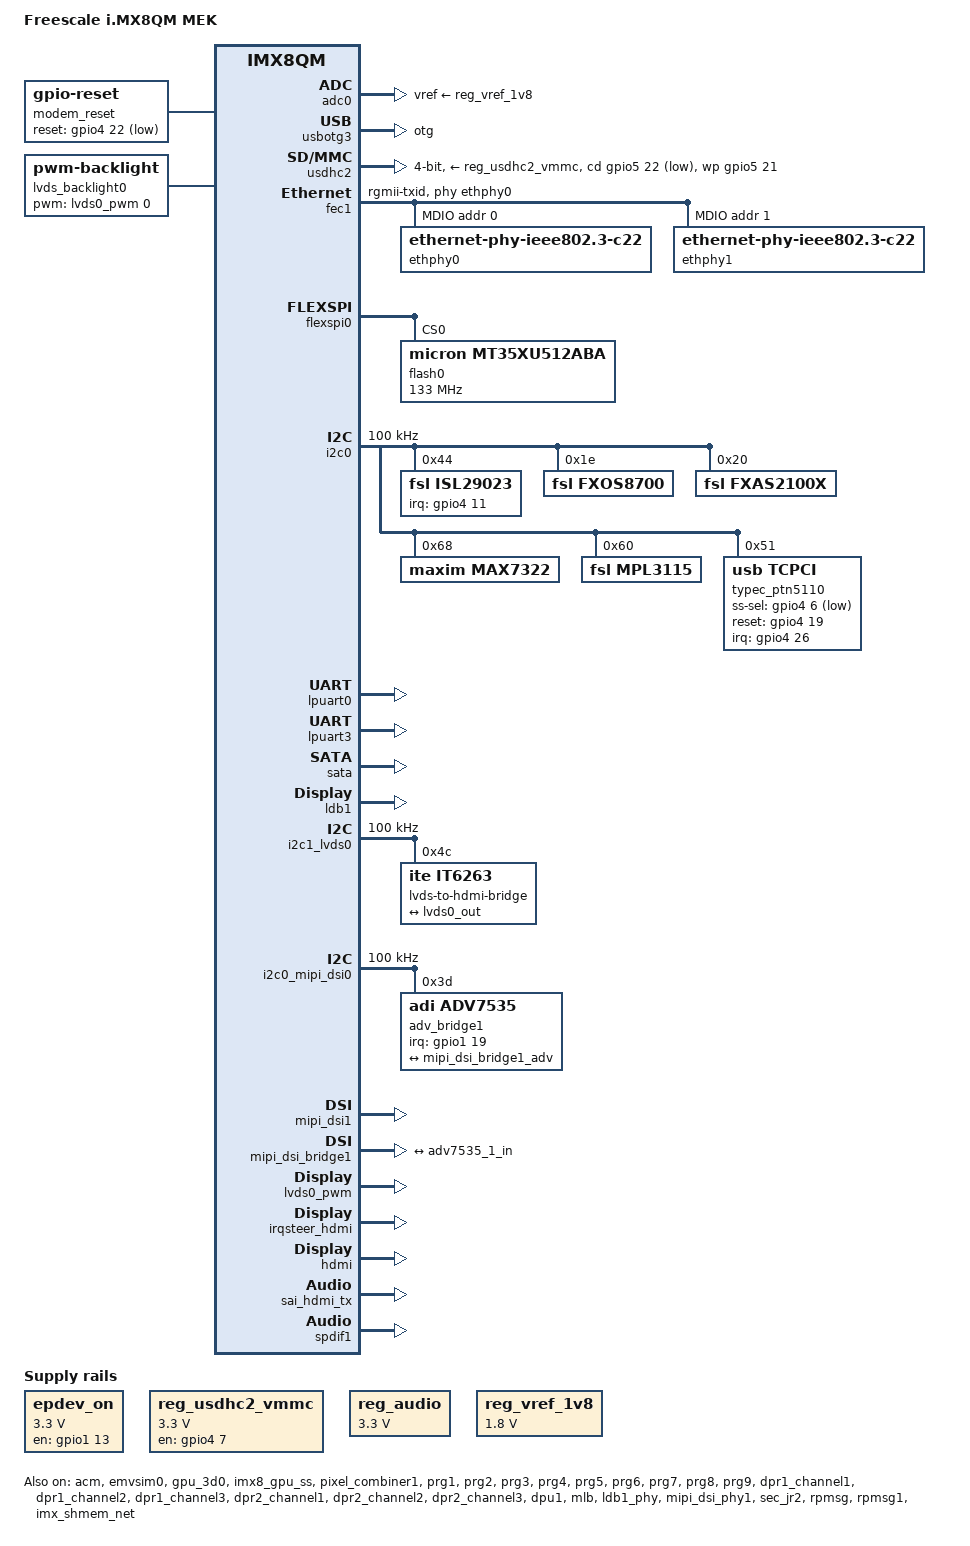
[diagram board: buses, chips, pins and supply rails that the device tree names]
/*
 * Copyright 2017-2018 NXP
 *
 * This program is free software; you can redistribute it and/or
 * modify it under the terms of the GNU General Public License
 * as published by the Free Software Foundation; either version 2
 * of the License, or (at your option) any later version.
 *
 * This program is distributed in the hope that it will be useful,
 * but WITHOUT ANY WARRANTY; without even the implied warranty of
 * MERCHANTABILITY or FITNESS FOR A PARTICULAR PURPOSE.  See the
 * GNU General Public License for more details.
 */

#include "fsl-imx8qm-a53.dtsi"

/ {
	model = "Freescale i.MX8QM MEK";
	compatible = "fsl,imx8qm-mek", "fsl,imx8qm";

	chosen {
		bootargs = "console=ttyLP0,115200 earlycon=lpuart32,0x5a060000,115200";
		stdout-path = &lpuart0;
	};

	brcmfmac: brcmfmac {
		compatible = "cypress,brcmfmac";
		pinctrl-names = "init", "idle", "default";
		pinctrl-0 = <&pinctrl_wifi_init>;
		pinctrl-1 = <&pinctrl_wifi_init>;
		pinctrl-2 = <&pinctrl_wifi>;
	};

	modem_reset: modem-reset {
		compatible = "gpio-reset";
		pinctrl-names = "default", "sleep";
		pinctrl-0 = <&pinctrl_modem_reset>;
		pinctrl-1 = <&pinctrl_modem_reset_sleep>;
		reset-gpios = <&gpio4 22 GPIO_ACTIVE_LOW>;
		reset-delay-us = <2000>;
		reset-post-delay-ms = <40>;
		#reset-cells = <0>;
	};

	regulators {
		compatible = "simple-bus";
		#address-cells = <1>;
		#size-cells = <0>;

		reg_can01_en: regulator-can01-gen {
			compatible = "regulator-fixed";
			regulator-name = "can01-en";
			regulator-min-microvolt = <3300000>;
			regulator-max-microvolt = <3300000>;
			gpio = <&pca6416 3 GPIO_ACTIVE_HIGH>;
			enable-active-high;
			status = "disabled";
		};

		reg_can2_en: regulator-can2-gen {
			compatible = "regulator-fixed";
			regulator-name = "can2-en";
			regulator-min-microvolt = <3300000>;
			regulator-max-microvolt = <3300000>;
			gpio = <&pca6416 4 GPIO_ACTIVE_HIGH>;
			enable-active-high;
			status = "disabled";
		};

		reg_can01_stby: regulator-can01-stby {
			compatible = "regulator-fixed";
			regulator-name = "can01-stby";
			regulator-min-microvolt = <3300000>;
			regulator-max-microvolt = <3300000>;
			gpio = <&pca6416 5 GPIO_ACTIVE_HIGH>;
			enable-active-high;
			vin-supply = <&reg_can01_en>;
			status = "disabled";
		};

		reg_can2_stby: regulator-can2-stby {
			compatible = "regulator-fixed";
			regulator-name = "can2-stby";
			regulator-min-microvolt = <3300000>;
			regulator-max-microvolt = <3300000>;
			gpio = <&pca6416 6 GPIO_ACTIVE_HIGH>;
			enable-active-high;
			vin-supply = <&reg_can2_en>;
			status = "disabled";
		};

		reg_fec2_supply: fec2_nvcc {
			compatible = "regulator-fixed";
			regulator-name = "fec2_nvcc";
			regulator-min-microvolt = <1800000>;
			regulator-max-microvolt = <1800000>;
			gpio = <&max7322 0 GPIO_ACTIVE_HIGH>;
			enable-active-high;
			status = "disabled";
		};

		epdev_on: fixedregulator@100 {
			compatible = "regulator-fixed";
			pinctrl-names = "default", "sleep";
			pinctrl-0 = <&pinctrl_wlreg_on>;
			pinctrl-1 = <&pinctrl_wlreg_on_sleep>;
			regulator-min-microvolt = <3300000>;
			regulator-max-microvolt = <3300000>;
			regulator-name = "epdev_on";
			gpio = <&gpio1 13 0>;
			enable-active-high;
		};

		reg_usdhc2_vmmc: usdhc2_vmmc {
			compatible = "regulator-fixed";
			regulator-name = "sw-3p3-sd1";
			regulator-min-microvolt = <3300000>;
			regulator-max-microvolt = <3300000>;
			gpio = <&gpio4 7 GPIO_ACTIVE_HIGH>;
			off-on-delay = <4800>;
			enable-active-high;
		};

		reg_audio: fixedregulator@2 {
			compatible = "regulator-fixed";
			reg = <2>;
			regulator-name = "cs42888_supply";
			regulator-min-microvolt = <3300000>;
			regulator-max-microvolt = <3300000>;
			regulator-always-on;
		};

		reg_vref_1v8: adc_vref_1v8 {
			compatible = "regulator-fixed";
			regulator-name = "vref_1v8";
			regulator-min-microvolt = <1800000>;
			regulator-max-microvolt = <1800000>;
		};
	};

	sound: sound {
		compatible = "fsl,imx7d-evk-wm8960",
			   "fsl,imx-audio-wm8960";
		model = "wm8960-audio";
		cpu-dai = <&sai1>;
		audio-codec = <&wm8960>;
		codec-master;
		/*
		 * hp-det = <hp-det-pin hp-det-polarity>;
		 * hp-det-pin: JD1 JD2  or JD3
		 * hp-det-polarity = 0: hp detect high for headphone
		 * hp-det-polarity = 1: hp detect high for speaker
		 */
		hp-det = <2 0>;
		hp-det-gpios = <&gpio0 31 0>;
		mic-det-gpios = <&gpio0 31 0>;
		audio-routing =
			"Headphone Jack", "HP_L",
			"Headphone Jack", "HP_R",
			"Ext Spk", "SPK_LP",
			"Ext Spk", "SPK_LN",
			"Ext Spk", "SPK_RP",
			"Ext Spk", "SPK_RN",
			"LINPUT2", "Mic Jack",
			"LINPUT3", "Mic Jack",
			"RINPUT1", "Main MIC",
			"RINPUT2", "Main MIC",
			"Mic Jack", "MICB",
			"Main MIC", "MICB",
			"CPU-Playback", "ASRC-Playback",
			"Playback", "CPU-Playback",
			"ASRC-Capture", "CPU-Capture",
			"CPU-Capture", "Capture";
		status = "disabled";
	};

	sound-cs42888 {
		compatible = "fsl,imx8qm-sabreauto-cs42888",
				 "fsl,imx-audio-cs42888";
		model = "imx-cs42888";
		esai-controller = <&esai0>;
		audio-codec = <&cs42888>;
		asrc-controller = <&asrc0>;
		status = "disabled";
	};

	sound-amix-sai {
		compatible = "fsl,imx-audio-amix";
		model = "amix-audio-sai";
		dais = <&sai6>, <&sai7>;
		amix-controller = <&amix>;
		status = "disabled";
	};

	lvds_backlight0: lvds_backlight@0 {
		compatible = "pwm-backlight";
		pwms = <&lvds0_pwm 0 100000 0>;

		brightness-levels = < 0  1  2  3  4  5  6  7  8  9
				     10 11 12 13 14 15 16 17 18 19
				     20 21 22 23 24 25 26 27 28 29
				     30 31 32 33 34 35 36 37 38 39
				     40 41 42 43 44 45 46 47 48 49
				     50 51 52 53 54 55 56 57 58 59
				     60 61 62 63 64 65 66 67 68 69
				     70 71 72 73 74 75 76 77 78 79
				     80 81 82 83 84 85 86 87 88 89
				     90 91 92 93 94 95 96 97 98 99
				    100>;
		default-brightness-level = <80>;
	};

	lvds_backlight1: lvds_backlight@1 {
		compatible = "pwm-backlight";
		pwms = <&lvds1_pwm 0 100000 0>;

		brightness-levels = < 0  1  2  3  4  5  6  7  8  9
				     10 11 12 13 14 15 16 17 18 19
				     20 21 22 23 24 25 26 27 28 29
				     30 31 32 33 34 35 36 37 38 39
				     40 41 42 43 44 45 46 47 48 49
				     50 51 52 53 54 55 56 57 58 59
				     60 61 62 63 64 65 66 67 68 69
				     70 71 72 73 74 75 76 77 78 79
				     80 81 82 83 84 85 86 87 88 89
				     90 91 92 93 94 95 96 97 98 99
				    100>;
		default-brightness-level = <80>;
		status = "disabled";
	};
};

&acm {
	status = "okay";
};

&amix {
	status = "disabled";
};

&sai6 {
	assigned-clocks = <&clk IMX8QM_ACM_SAI6_MCLK_SEL>,
			<&clk IMX8QM_AUD_PLL1_DIV>,
			<&clk IMX8QM_AUD_ACM_AUD_PLL_CLK1_DIV>,
			<&clk IMX8QM_AUD_ACM_AUD_REC_CLK1_DIV>,
			<&clk IMX8QM_AUD_SAI_6_MCLK>;
	assigned-clock-parents = <&clk IMX8QM_AUD_ACM_AUD_PLL_CLK1_CLK>;
	assigned-clock-rates = <0>, <786432000>, <98304000>, <12288000>, <98304000>;
	fsl,sai-asynchronous;
	fsl,txm-rxs;
	status = "disabled";
};

&sai7 {
	assigned-clocks = <&clk IMX8QM_ACM_SAI7_MCLK_SEL>,
			<&clk IMX8QM_AUD_PLL1_DIV>,
			<&clk IMX8QM_AUD_ACM_AUD_PLL_CLK1_DIV>,
			<&clk IMX8QM_AUD_ACM_AUD_REC_CLK1_DIV>,
			<&clk IMX8QM_AUD_SAI_7_MCLK>;
	assigned-clock-parents = <&clk IMX8QM_AUD_ACM_AUD_PLL_CLK1_CLK>;
	assigned-clock-rates = <0>, <786432000>, <98304000>, <12288000>, <98304000>;
	fsl,sai-asynchronous;
	fsl,txm-rxs;
	status = "disabled";
};

&iomuxc {
	pinctrl-names = "default";
	pinctrl-0 = <&pinctrl_hog>;

	imx8qm-mek {
		pinctrl_hog: hoggrp {
			fsl,pins = <
				SC_P_QSPI1A_DATA1_LSIO_GPIO4_IO25	0x0600004c
			>;
		};

		pinctrl_adc0: adc0grp {
			fsl,pins = <
				SC_P_ADC_IN0_DMA_ADC0_IN0		0xc0000060
			>;
		};

		pinctrl_cm41_i2c0: cm41i2c0grp {
			fsl,pins = <
				SC_P_M41_I2C0_SCL_M41_I2C0_SCL          0x0600004c
				SC_P_M41_I2C0_SDA_M41_I2C0_SDA          0x0600004c
			>;
		};

		pinctrl_esai0: esai0grp {
			fsl,pins = <
				SC_P_ESAI0_FSR_AUD_ESAI0_FSR            0xc6000040
				SC_P_ESAI0_FST_AUD_ESAI0_FST            0xc6000040
				SC_P_ESAI0_SCKR_AUD_ESAI0_SCKR          0xc6000040
				SC_P_ESAI0_SCKT_AUD_ESAI0_SCKT          0xc6000040
				SC_P_ESAI0_TX0_AUD_ESAI0_TX0            0xc6000040
				SC_P_ESAI0_TX1_AUD_ESAI0_TX1            0xc6000040
				SC_P_ESAI0_TX2_RX3_AUD_ESAI0_TX2_RX3    0xc6000040
				SC_P_ESAI0_TX3_RX2_AUD_ESAI0_TX3_RX2    0xc6000040
				SC_P_ESAI0_TX4_RX1_AUD_ESAI0_TX4_RX1    0xc6000040
				SC_P_ESAI0_TX5_RX0_AUD_ESAI0_TX5_RX0    0xc6000040
			>;
		};

		pinctrl_fec1: fec1grp {
			fsl,pins = <
				SC_P_COMP_CTL_GPIO_1V8_3V3_ENET_ENETB_PAD	0x000014a0
				SC_P_ENET0_MDC_CONN_ENET0_MDC			0x06000020
				SC_P_ENET0_MDIO_CONN_ENET0_MDIO			0x06000020
				SC_P_ENET0_RGMII_TX_CTL_CONN_ENET0_RGMII_TX_CTL	0x00000061
				SC_P_ENET0_RGMII_TXC_CONN_ENET0_RGMII_TXC	0x00000061
				SC_P_ENET0_RGMII_TXD0_CONN_ENET0_RGMII_TXD0	0x00000061
				SC_P_ENET0_RGMII_TXD1_CONN_ENET0_RGMII_TXD1	0x00000061
				SC_P_ENET0_RGMII_TXD2_CONN_ENET0_RGMII_TXD2	0x00000061
				SC_P_ENET0_RGMII_TXD3_CONN_ENET0_RGMII_TXD3	0x00000061
				SC_P_ENET0_RGMII_RXC_CONN_ENET0_RGMII_RXC	0x00000061
				SC_P_ENET0_RGMII_RX_CTL_CONN_ENET0_RGMII_RX_CTL	0x00000061
				SC_P_ENET0_RGMII_RXD0_CONN_ENET0_RGMII_RXD0	0x00000061
				SC_P_ENET0_RGMII_RXD1_CONN_ENET0_RGMII_RXD1	0x00000061
				SC_P_ENET0_RGMII_RXD2_CONN_ENET0_RGMII_RXD2	0x00000061
				SC_P_ENET0_RGMII_RXD3_CONN_ENET0_RGMII_RXD3	0x00000061
			>;
		};

		pinctrl_fec2: fec2grp {
			fsl,pins = <
				SC_P_COMP_CTL_GPIO_1V8_3V3_ENET_ENETA_PAD	0x000014a0
				SC_P_ENET1_RGMII_TX_CTL_CONN_ENET1_RGMII_TX_CTL	0x00000060
				SC_P_ENET1_RGMII_TXC_CONN_ENET1_RGMII_TXC	0x00000060
				SC_P_ENET1_RGMII_TXD0_CONN_ENET1_RGMII_TXD0	0x00000060
				SC_P_ENET1_RGMII_TXD1_CONN_ENET1_RGMII_TXD1	0x00000060
				SC_P_ENET1_RGMII_TXD2_CONN_ENET1_RGMII_TXD2	0x00000060
				SC_P_ENET1_RGMII_TXD3_CONN_ENET1_RGMII_TXD3	0x00000060
				SC_P_ENET1_RGMII_RXC_CONN_ENET1_RGMII_RXC	0x00000060
				SC_P_ENET1_RGMII_RX_CTL_CONN_ENET1_RGMII_RX_CTL	0x00000060
				SC_P_ENET1_RGMII_RXD0_CONN_ENET1_RGMII_RXD0	0x00000060
				SC_P_ENET1_RGMII_RXD1_CONN_ENET1_RGMII_RXD1	0x00000060
				SC_P_ENET1_RGMII_RXD2_CONN_ENET1_RGMII_RXD2	0x00000060
				SC_P_ENET1_RGMII_RXD3_CONN_ENET1_RGMII_RXD3	0x00000060
			>;
		};

		pinctrl_flexspi0: flexspi0grp {
			fsl,pins = <
				SC_P_QSPI0A_DATA0_LSIO_QSPI0A_DATA0	0x06000021
				SC_P_QSPI0A_DATA1_LSIO_QSPI0A_DATA1	0x06000021
				SC_P_QSPI0A_DATA2_LSIO_QSPI0A_DATA2	0x06000021
				SC_P_QSPI0A_DATA3_LSIO_QSPI0A_DATA3	0x06000021
				SC_P_QSPI0A_DQS_LSIO_QSPI0A_DQS		0x06000021
				SC_P_QSPI0A_SS0_B_LSIO_QSPI0A_SS0_B	0x06000021
				SC_P_QSPI0A_SS1_B_LSIO_QSPI0A_SS1_B	0x06000021
				SC_P_QSPI0A_SCLK_LSIO_QSPI0A_SCLK	0x06000021
				SC_P_QSPI0B_SCLK_LSIO_QSPI0B_SCLK	0x06000021
				SC_P_QSPI0B_DATA0_LSIO_QSPI0B_DATA0	0x06000021
				SC_P_QSPI0B_DATA1_LSIO_QSPI0B_DATA1	0x06000021
				SC_P_QSPI0B_DATA2_LSIO_QSPI0B_DATA2	0x06000021
				SC_P_QSPI0B_DATA3_LSIO_QSPI0B_DATA3	0x06000021
				SC_P_QSPI0B_DQS_LSIO_QSPI0B_DQS		0x06000021
				SC_P_QSPI0B_SS0_B_LSIO_QSPI0B_SS0_B	0x06000021
				SC_P_QSPI0B_SS1_B_LSIO_QSPI0B_SS1_B	0x06000021
			>;
		};

		pinctrl_flexcan1: flexcan0grp {
			fsl,pins = <
				SC_P_FLEXCAN0_TX_DMA_FLEXCAN0_TX        0x21
				SC_P_FLEXCAN0_RX_DMA_FLEXCAN0_RX        0x21
			>;
		};

		pinctrl_flexcan2: flexcan1grp {
			fsl,pins = <
				SC_P_FLEXCAN1_TX_DMA_FLEXCAN1_TX        0x21
				SC_P_FLEXCAN1_RX_DMA_FLEXCAN1_RX        0x21
			>;
		};

		pinctrl_flexcan3: flexcan2grp {
			fsl,pins = <
				SC_P_FLEXCAN2_TX_DMA_FLEXCAN2_TX        0x21
				SC_P_FLEXCAN2_RX_DMA_FLEXCAN2_RX        0x21
			>;
		};

		pinctrl_lpuart0: lpuart0grp {
			fsl,pins = <
				SC_P_UART0_RX_DMA_UART0_RX		0x06000020
				SC_P_UART0_TX_DMA_UART0_TX		0x06000020
			>;
		};

		pinctrl_lpuart1: lpuart1grp {
			fsl,pins = <
				SC_P_UART1_RX_DMA_UART1_RX		0x06000020
				SC_P_UART1_TX_DMA_UART1_TX		0x06000020
				SC_P_UART1_CTS_B_DMA_UART1_CTS_B	0x06000020
				SC_P_UART1_RTS_B_DMA_UART1_RTS_B	0x06000020
			>;
		};

		pinctrl_lpuart2: lpuart2grp {
			fsl,pins = <
				SC_P_UART0_RTS_B_DMA_UART2_RX		0x06000020
				SC_P_UART0_CTS_B_DMA_UART2_TX		0x06000020
			>;
		};

		pinctrl_lpuart3: lpuart3grp {
			fsl,pins = <
				SC_P_M41_GPIO0_00_DMA_UART3_RX		0x06000020
				SC_P_M41_GPIO0_01_DMA_UART3_TX		0x06000020
			>;
		};

		pinctrl_mlb: mlbgrp {
			fsl,pins = <
				SC_P_MLB_SIG_CONN_MLB_SIG               0x21
				SC_P_MLB_CLK_CONN_MLB_CLK               0x21
				SC_P_MLB_DATA_CONN_MLB_DATA             0x21
			>;
		};

		pinctrl_modem_reset: modemresetgrp {
			fsl,pins = <
				SC_P_QSPI1A_DQS_LSIO_GPIO4_IO22		0x06000021
			>;
		};

		pinctrl_modem_reset_sleep: modemreset_sleepgrp {
			fsl,pins = <
				SC_P_QSPI1A_DQS_LSIO_GPIO4_IO22		0x07800021
			>;
		};

		pinctrl_sai1: sai1grp {
			fsl,pins = <
				SC_P_SAI1_RXD_AUD_SAI1_RXD		0x06000040
				SC_P_SAI1_RXC_AUD_SAI1_RXC		0x06000040
				SC_P_SAI1_RXFS_AUD_SAI1_RXFS		0x06000040
				SC_P_SAI1_TXD_AUD_SAI1_TXD		0x06000060
				SC_P_SAI1_TXC_AUD_SAI1_TXC		0x06000040
			>;
		};

		pinctrl_i2c0: i2c0grp {
			fsl,pins = <
				SC_P_HDMI_TX0_TS_SCL_DMA_I2C0_SCL	0x06000021
				SC_P_HDMI_TX0_TS_SDA_DMA_I2C0_SDA	0x06000021
			>;
		};

		pinctrl_isl29023: isl29023grp {
			fsl,pins = <
				SC_P_USDHC2_WP_LSIO_GPIO4_IO11		0x00000021
			>;
		};

		pinctrl_i2c1: i2c1grp {
			fsl,pins = <
				SC_P_GPT0_CLK_DMA_I2C1_SCL 0x0600004c
				SC_P_GPT0_CAPTURE_DMA_I2C1_SDA 0x0600004c
			>;
		};

		pinctrl_pciea: pcieagrp{
			fsl,pins = <
				SC_P_PCIE_CTRL0_CLKREQ_B_LSIO_GPIO4_IO27	0x06000021
				SC_P_PCIE_CTRL0_WAKE_B_LSIO_GPIO4_IO28		0x04000021
				SC_P_PCIE_CTRL0_PERST_B_LSIO_GPIO4_IO29		0x06000021
				SC_P_USDHC2_RESET_B_LSIO_GPIO4_IO09		0x06000021
			>;
		};

		pinctrl_pcieb: pciebgrp {
			fsl,pins = <
				SC_P_PCIE_CTRL1_CLKREQ_B_LSIO_GPIO4_IO30	0x06000021
				SC_P_PCIE_CTRL1_WAKE_B_LSIO_GPIO4_IO31		0x04000021
				SC_P_PCIE_CTRL1_PERST_B_LSIO_GPIO5_IO00		0x06000021
			>;
		};

		pinctrl_sim0: sim0grp {
			fsl,pins = <
				SC_P_SIM0_CLK_DMA_SIM0_CLK		0xc0000021
				SC_P_SIM0_IO_DMA_SIM0_IO		0xc2000021
				SC_P_SIM0_PD_DMA_SIM0_PD		0xc0000021
				SC_P_SIM0_POWER_EN_DMA_SIM0_POWER_EN	0xc0000021
				SC_P_SIM0_RST_DMA_SIM0_RST		0xc0000021
			>;
		};

		pinctrl_typec: typecgrp {
			fsl,pins = <
				SC_P_QSPI1A_SS0_B_LSIO_GPIO4_IO19	0x60
				SC_P_USB_SS3_TC3_LSIO_GPIO4_IO06	0x60
				SC_P_QSPI1A_DATA0_LSIO_GPIO4_IO26	0x00000021
			>;
		};

		pinctrl_usbotg1: usbotg1 {
			fsl,pins = <
				SC_P_USB_SS3_TC0_CONN_USB_OTG1_PWR		0x00000021
			>;
		};

		pinctrl_usdhc1: usdhc1grp {
			fsl,pins = <
				SC_P_EMMC0_CLK_CONN_EMMC0_CLK		0x06000041
				SC_P_EMMC0_CMD_CONN_EMMC0_CMD		0x00000021
				SC_P_EMMC0_DATA0_CONN_EMMC0_DATA0	0x00000021
				SC_P_EMMC0_DATA1_CONN_EMMC0_DATA1	0x00000021
				SC_P_EMMC0_DATA2_CONN_EMMC0_DATA2	0x00000021
				SC_P_EMMC0_DATA3_CONN_EMMC0_DATA3	0x00000021
				SC_P_EMMC0_DATA4_CONN_EMMC0_DATA4	0x00000021
				SC_P_EMMC0_DATA5_CONN_EMMC0_DATA5	0x00000021
				SC_P_EMMC0_DATA6_CONN_EMMC0_DATA6	0x00000021
				SC_P_EMMC0_DATA7_CONN_EMMC0_DATA7	0x00000021
				SC_P_EMMC0_STROBE_CONN_EMMC0_STROBE	0x00000041
				SC_P_EMMC0_RESET_B_CONN_EMMC0_RESET_B	0x00000021
			>;
		};

		pinctrl_usdhc1_100mhz: usdhc1grp100mhz {
			fsl,pins = <
				SC_P_EMMC0_CLK_CONN_EMMC0_CLK		0x06000040
				SC_P_EMMC0_CMD_CONN_EMMC0_CMD		0x00000020
				SC_P_EMMC0_DATA0_CONN_EMMC0_DATA0	0x00000020
				SC_P_EMMC0_DATA1_CONN_EMMC0_DATA1	0x00000020
				SC_P_EMMC0_DATA2_CONN_EMMC0_DATA2	0x00000020
				SC_P_EMMC0_DATA3_CONN_EMMC0_DATA3	0x00000020
				SC_P_EMMC0_DATA4_CONN_EMMC0_DATA4	0x00000020
				SC_P_EMMC0_DATA5_CONN_EMMC0_DATA5	0x00000020
				SC_P_EMMC0_DATA6_CONN_EMMC0_DATA6	0x00000020
				SC_P_EMMC0_DATA7_CONN_EMMC0_DATA7	0x00000020
				SC_P_EMMC0_STROBE_CONN_EMMC0_STROBE	0x00000040
				SC_P_EMMC0_RESET_B_CONN_EMMC0_RESET_B	0x00000020
			>;
		};

		pinctrl_usdhc1_200mhz: usdhc1grp200mhz {
			fsl,pins = <
				SC_P_EMMC0_CLK_CONN_EMMC0_CLK		0x06000040
				SC_P_EMMC0_CMD_CONN_EMMC0_CMD		0x00000020
				SC_P_EMMC0_DATA0_CONN_EMMC0_DATA0	0x00000020
				SC_P_EMMC0_DATA1_CONN_EMMC0_DATA1	0x00000020
				SC_P_EMMC0_DATA2_CONN_EMMC0_DATA2	0x00000020
				SC_P_EMMC0_DATA3_CONN_EMMC0_DATA3	0x00000020
				SC_P_EMMC0_DATA4_CONN_EMMC0_DATA4	0x00000020
				SC_P_EMMC0_DATA5_CONN_EMMC0_DATA5	0x00000020
				SC_P_EMMC0_DATA6_CONN_EMMC0_DATA6	0x00000020
				SC_P_EMMC0_DATA7_CONN_EMMC0_DATA7	0x00000020
				SC_P_EMMC0_STROBE_CONN_EMMC0_STROBE	0x00000040
				SC_P_EMMC0_RESET_B_CONN_EMMC0_RESET_B	0x00000020
			>;
		};

		pinctrl_usdhc2_gpio: usdhc2grpgpio {
			fsl,pins = <
				SC_P_USDHC1_DATA6_LSIO_GPIO5_IO21	0x00000021
				SC_P_USDHC1_DATA7_LSIO_GPIO5_IO22	0x00000021
				SC_P_USDHC1_RESET_B_LSIO_GPIO4_IO07	0x00000021
			>;
		};

		pinctrl_usdhc2: usdhc2grp {
			fsl,pins = <
				SC_P_USDHC1_CLK_CONN_USDHC1_CLK		0x06000041
				SC_P_USDHC1_CMD_CONN_USDHC1_CMD		0x00000021
				SC_P_USDHC1_DATA0_CONN_USDHC1_DATA0	0x00000021
				SC_P_USDHC1_DATA1_CONN_USDHC1_DATA1	0x00000021
				SC_P_USDHC1_DATA2_CONN_USDHC1_DATA2	0x00000021
				SC_P_USDHC1_DATA3_CONN_USDHC1_DATA3	0x00000021
				SC_P_USDHC1_VSELECT_CONN_USDHC1_VSELECT	0x00000021
			>;
		};

		pinctrl_usdhc2_100mhz: usdhc2grp100mhz {
			fsl,pins = <
				SC_P_USDHC1_CLK_CONN_USDHC1_CLK		0x06000040
				SC_P_USDHC1_CMD_CONN_USDHC1_CMD		0x00000020
				SC_P_USDHC1_DATA0_CONN_USDHC1_DATA0	0x00000020
				SC_P_USDHC1_DATA1_CONN_USDHC1_DATA1	0x00000020
				SC_P_USDHC1_DATA2_CONN_USDHC1_DATA2	0x00000020
				SC_P_USDHC1_DATA3_CONN_USDHC1_DATA3	0x00000020
				SC_P_USDHC1_VSELECT_CONN_USDHC1_VSELECT	0x00000020
			>;
		};

		pinctrl_usdhc2_200mhz: usdhc2grp200mhz {
			fsl,pins = <
				SC_P_USDHC1_CLK_CONN_USDHC1_CLK		0x06000040
				SC_P_USDHC1_CMD_CONN_USDHC1_CMD		0x00000020
				SC_P_USDHC1_DATA0_CONN_USDHC1_DATA0	0x00000020
				SC_P_USDHC1_DATA1_CONN_USDHC1_DATA1	0x00000020
				SC_P_USDHC1_DATA2_CONN_USDHC1_DATA2	0x00000020
				SC_P_USDHC1_DATA3_CONN_USDHC1_DATA3	0x00000020
				SC_P_USDHC1_VSELECT_CONN_USDHC1_VSELECT	0x00000020
			>;
		};
		pinctrl_lvds0_lpi2c1: lvds0lpi2c1grp {
			fsl,pins = <
				SC_P_LVDS0_I2C1_SCL_LVDS0_I2C1_SCL	0xc600004c
				SC_P_LVDS0_I2C1_SDA_LVDS0_I2C1_SDA	0xc600004c
			>;
		};

		pinctrl_lvds1_lpi2c1: lvds1lpi2c1grp {
			fsl,pins = <
				SC_P_LVDS1_I2C1_SCL_LVDS1_I2C1_SCL	0xc600004c
				SC_P_LVDS1_I2C1_SDA_LVDS1_I2C1_SDA	0xc600004c
			>;
		};

		pinctrl_lvds0_pwm0: lvds0pwm0grp {
			fsl,pins = <
				SC_P_LVDS0_GPIO00_LVDS0_PWM0_OUT	0x00000020
			>;
		};

		pinctrl_lvds1_pwm0: lvds1pwm0grp {
			fsl,pins = <
				SC_P_LVDS1_GPIO00_LVDS1_PWM0_OUT	0x00000020
			>;
		};

		pinctrl_mipi0_lpi2c0: mipi0_lpi2c0grp {
			fsl,pins = <
				SC_P_MIPI_DSI0_I2C0_SCL_MIPI_DSI0_I2C0_SCL	0xc600004c
				SC_P_MIPI_DSI0_I2C0_SDA_MIPI_DSI0_I2C0_SDA	0xc600004c
				SC_P_MIPI_DSI0_GPIO0_01_LSIO_GPIO1_IO19		0x00000020
			>;
		};

		pinctrl_mipi1_lpi2c0: mipi1_lpi2c0grp {
			fsl,pins = <
				SC_P_MIPI_DSI1_I2C0_SCL_MIPI_DSI1_I2C0_SCL	0xc600004c
				SC_P_MIPI_DSI1_I2C0_SDA_MIPI_DSI1_I2C0_SDA	0xc600004c
				SC_P_MIPI_DSI1_GPIO0_01_LSIO_GPIO1_IO23		0x00000020
			>;
		};

		pinctrl_mipi_dsi_0_1_en: mipi_dsi_0_1_en {
			fsl,pins = <
				SC_P_LVDS0_I2C0_SDA_LSIO_GPIO1_IO07		0x00000021
			>;
		};

		pinctrl_mipi_csi0_en_rst: mipi_csi0_en_rst {
			fsl,pins = <
				SC_P_MIPI_CSI0_GPIO0_00_LSIO_GPIO1_IO27		0x00000021
				SC_P_MIPI_CSI0_GPIO0_01_LSIO_GPIO1_IO28		0x00000021
			>;
                };

		pinctrl_mipi_csi1_en_rst: mipi_csi1_en_rst {
			fsl,pins = <
				SC_P_MIPI_CSI1_GPIO0_00_LSIO_GPIO1_IO30         0x00000021
				SC_P_MIPI_CSI1_GPIO0_01_LSIO_GPIO1_IO31         0x00000021
			>;
                };

		pinctrl_wifi: wifigrp{
			fsl,pins = <
				/* reserve pin init/idle_state to support multiple wlan cards */
			>;
		};

		pinctrl_wifi_init: wifi_initgrp{
			fsl,pins = <
				SC_P_SCU_GPIO0_07_LSIO_GPIO1_IO03		0x20
			>;
		};

		pinctrl_wlreg_on: wlregongrp{
			fsl,pins = <
				SC_P_LVDS1_I2C0_SDA_LSIO_GPIO1_IO13		0x06000000
			>;
		};

		pinctrl_wlreg_on_sleep: wlregon_sleepgrp{
			fsl,pins = <
				SC_P_LVDS1_I2C0_SDA_LSIO_GPIO1_IO13		0x07800000
			>;
		};
	};
};

&adc0 {
	pinctrl-names = "default";
	pinctrl-0 = <&pinctrl_adc0>;
	vref-supply = <&reg_vref_1v8>;
	status = "okay";
};

&asrc0 {
	fsl,asrc-rate  = <48000>;
	status = "disabled";
};

&esai0 {
	compatible = "fsl,imx8qm-esai";
	pinctrl-names = "default";
	pinctrl-0 = <&pinctrl_esai0>;
	assigned-clocks = <&clk IMX8QM_ACM_ESAI0_MCLK_SEL>,
			<&clk IMX8QM_AUD_PLL0_DIV>,
			<&clk IMX8QM_AUD_ACM_AUD_PLL_CLK0_DIV>,
			<&clk IMX8QM_AUD_ACM_AUD_REC_CLK0_DIV>,
			<&clk IMX8QM_AUD_ESAI_0_EXTAL_IPG>;
	assigned-clock-parents = <&clk IMX8QM_AUD_ACM_AUD_PLL_CLK0_CLK>;
	assigned-clock-rates = <0>, <786432000>, <49152000>, <12288000>, <49152000>;
	fsl,txm-rxs;
	status = "disabled";
};

&emvsim0 {
	pinctrl-names = "default", "sleep";
	pinctrl-0 = <&pinctrl_sim0>;
	pinctrl-1 = <&pinctrl_sim0>;
	status = "okay";
};
&sai1 {
	assigned-clocks = <&clk IMX8QM_AUD_PLL0_DIV>,
			<&clk IMX8QM_AUD_ACM_AUD_PLL_CLK0_DIV>,
			<&clk IMX8QM_AUD_ACM_AUD_REC_CLK0_DIV>,
			<&clk IMX8QM_AUD_SAI_1_MCLK>;
	assigned-clock-rates = <786432000>, <49152000>, <12288000>, <49152000>;
	pinctrl-names = "default";
	pinctrl-0 = <&pinctrl_sai1>;
	status = "disabled";
};

&usbotg1 {
	pinctrl-names = "default";
	pinctrl-0 = <&pinctrl_usbotg1>;
	srp-disable;
	hnp-disable;
	adp-disable;
	power-polarity-active-high;
	disable-over-current;
	status = "disabled";
};

&usbotg3 {
	dr_mode = "otg";
	extcon = <&typec_ptn5110>;
	status = "okay";
};

&usdhc1 {
	pinctrl-names = "default", "state_100mhz", "state_200mhz";
	pinctrl-0 = <&pinctrl_usdhc1>;
	pinctrl-1 = <&pinctrl_usdhc1_100mhz>;
	pinctrl-2 = <&pinctrl_usdhc1_200mhz>;
	bus-width = <8>;
	non-removable;
	/delete-property/ iommus;
	status = "disabled";
};

&usdhc2 {
	pinctrl-names = "default", "state_100mhz", "state_200mhz";
	pinctrl-0 = <&pinctrl_usdhc2>, <&pinctrl_usdhc2_gpio>;
	pinctrl-1 = <&pinctrl_usdhc2_100mhz>, <&pinctrl_usdhc2_gpio>;
	pinctrl-2 = <&pinctrl_usdhc2_200mhz>, <&pinctrl_usdhc2_gpio>;
	bus-width = <4>;
	cd-gpios = <&gpio5 22 GPIO_ACTIVE_LOW>;
	wp-gpios = <&gpio5 21 GPIO_ACTIVE_HIGH>;
	vmmc-supply = <&reg_usdhc2_vmmc>;
	/delete-property/ iommus;
	status = "okay";
};

&fec1 {
	pinctrl-names = "default";
	pinctrl-0 = <&pinctrl_fec1>;
	phy-mode = "rgmii-txid";
	phy-handle = <&ethphy0>;
	fsl,magic-packet;
	fsl,rgmii_rxc_dly;
	/delete-property/ iommus;
	status = "okay";

	mdio {
		#address-cells = <1>;
		#size-cells = <0>;

		ethphy0: ethernet-phy@0 {
			compatible = "ethernet-phy-ieee802.3-c22";
			reg = <0>;
			at803x,eee-disabled;
			at803x,vddio-1p8v;
		};

		ethphy1: ethernet-phy@1 {
			compatible = "ethernet-phy-ieee802.3-c22";
			reg = <1>;
			at803x,eee-disabled;
			at803x,vddio-1p8v;
		};
	};
};

&flexspi0 {
	pinctrl-names = "default";
	pinctrl-0 = <&pinctrl_flexspi0>;
	status = "okay";

	flash0: mt35xu512aba@0 {
		reg = <0>;
		#address-cells = <1>;
		#size-cells = <1>;
		compatible = "micron,mt35xu512aba";
		spi-max-frequency = <133000000>;
		spi-nor,ddr-quad-read-dummy = <8>;
	};
};

&flexcan1 {
	pinctrl-names = "default";
	pinctrl-0 = <&pinctrl_flexcan1>;
	xceiver-supply = <&reg_can01_stby>;
	status = "disabled";
};

&flexcan2 {
	pinctrl-names = "default";
	pinctrl-0 = <&pinctrl_flexcan2>;
	xceiver-supply = <&reg_can01_stby>;
	status = "disabled";
};

&flexcan3 {
	pinctrl-names = "default";
	pinctrl-0 = <&pinctrl_flexcan3>;
	xceiver-supply = <&reg_can2_stby>;
	status = "disabled";
};

&i2c0 {
	#address-cells = <1>;
	#size-cells = <0>;
	clock-frequency = <100000>;
	pinctrl-names = "default";
	pinctrl-0 = <&pinctrl_i2c0>;
	status = "okay";

	isl29023@44 {
		pinctrl-names = "default";
		pinctrl-0 = <&pinctrl_isl29023>;
		compatible = "fsl,isl29023";
		reg = <0x44>;
		rext = <499>;
		interrupt-parent = <&gpio4>;
		interrupts = <11 2>;
	};

	fxos8700@1e {
		compatible = "fsl,fxos8700";
		reg = <0x1e>;
		interrupt-open-drain;
	};

	fxas2100x@20 {
		compatible = "fsl,fxas2100x";
		reg = <0x20>;
		interrupt-open-drain;
	};

	max7322: gpio@68 {
		compatible = "maxim,max7322";
		reg = <0x68>;
		gpio-controller;
		#gpio-cells = <2>;
	};

	mpl3115@60 {
		compatible = "fsl,mpl3115";
		reg = <0x60>;
		interrupt-open-drain;
	};

	typec_ptn5110: typec@50 {
		compatible = "usb,tcpci";
		pinctrl-names = "default";
		pinctrl-0 = <&pinctrl_typec>;
		reg = <0x51>;
		interrupt-parent = <&gpio4>;
		interrupts = <26 IRQ_TYPE_LEVEL_LOW>;
		ss-sel-gpios = <&gpio4 6 GPIO_ACTIVE_LOW>;
		reset-gpios = <&gpio4 19 GPIO_ACTIVE_HIGH>;
		src-pdos = <0x380190c8 0x3803c0c8>;
		port-type = "drp";
		sink-disable;
		default-role = "source";
		status = "okay";
	};
};

&i2c1 {
	#address-cells = <1>;
	#size-cells = <0>;
	clock-frequency = <100000>;
	pinctrl-names = "default";
	pinctrl-0 = <&pinctrl_i2c1>;
	status = "disabled";

	wm8960: wm8960@1a {
		compatible = "wlf,wm8960";
		reg = <0x1a>;
		clocks = <&clk IMX8QM_AUD_MCLKOUT0>;
		clock-names = "mclk";
		wlf,shared-lrclk;
		power-domains = <&pd_mclk_out0>;
		assigned-clocks = <&clk IMX8QM_AUD_PLL0_DIV>,
				<&clk IMX8QM_AUD_ACM_AUD_PLL_CLK0_DIV>,
				<&clk IMX8QM_AUD_ACM_AUD_REC_CLK0_DIV>,
				<&clk IMX8QM_AUD_MCLKOUT0>;
		assigned-clock-rates = <786432000>, <49152000>, <12288000>, <12288000>;
	};
};

&i2c0_cm41 {
	#address-cells = <1>;
	#size-cells = <0>;
	clock-frequency = <100000>;
	pinctrl-names = "default";
	pinctrl-0 = <&pinctrl_cm41_i2c0>;
	status = "disabled";

	pca6416: gpio@20 {
		compatible = "ti,tca6416";
		reg = <0x20>;
		gpio-controller;
		#gpio-cells = <2>;
		status = "disabled";
	};

	cs42888: cs42888@48 {
		compatible = "cirrus,cs42888";
		reg = <0x48>;
		clocks = <&clk IMX8QM_AUD_MCLKOUT0>;
		clock-names = "mclk";
		VA-supply = <&reg_audio>;
		VD-supply = <&reg_audio>;
		VLS-supply = <&reg_audio>;
		VLC-supply = <&reg_audio>;
		reset-gpio = <&gpio4 25 1>;
		power-domains = <&pd_mclk_out0>;
		assigned-clocks = <&clk IMX8QM_AUD_PLL0_DIV>,
				<&clk IMX8QM_AUD_ACM_AUD_PLL_CLK0_DIV>,
				<&clk IMX8QM_AUD_ACM_AUD_REC_CLK0_DIV>,
				<&clk IMX8QM_AUD_MCLKOUT0>;
		assigned-clock-rates = <786432000>, <49152000>, <12288000>, <12288000>;
		fsl,txs-rxm;
		status = "disabled";
	};
};

&fec2 {
	pinctrl-names = "default";
	pinctrl-0 = <&pinctrl_fec2>;
	phy-mode = "rgmii-txid";
	phy-handle = <&ethphy1>;
	phy-supply = <&reg_fec2_supply>;
	fsl,magic-packet;
	fsl,rgmii_rxc_dly;
	status = "disabled";
};

&pd_dma_lpuart0 {
	debug_console;
};

&lpuart0 { /* console */
	pinctrl-names = "default";
	pinctrl-0 = <&pinctrl_lpuart0>;
	status = "okay";
};

&lpuart1 { /* BT */
	pinctrl-names = "default";
	pinctrl-0 = <&pinctrl_lpuart1>;
	resets = <&modem_reset>;
	status = "disabled";
};

&lpuart2 { /* Dbg console */
	pinctrl-names = "default";
	pinctrl-0 = <&pinctrl_lpuart2>;
	status = "disabled";
};

&lpuart3 { /* MKbus */
	pinctrl-names = "default";
	pinctrl-0 = <&pinctrl_lpuart3>;
	status = "okay";
};

&gpu_3d0 {
        status = "okay";
};

&imx8_gpu_ss {
	cores = <&gpu_3d0>;
        status = "okay";
};

&pixel_combiner1 {
	status = "okay";
};

&prg1 {
	status = "okay";
};

&prg2 {
	status = "okay";
};

&prg3 {
	status = "okay";
};

&prg4 {
	status = "okay";
};

&prg5 {
	status = "okay";
};

&prg6 {
	status = "okay";
};

&prg7 {
	status = "okay";
};

&prg8 {
	status = "okay";
};

&prg9 {
	status = "okay";
};

&dpr1_channel1 {
	status = "okay";
};

&dpr1_channel2 {
	status = "okay";
};

&dpr1_channel3 {
	status = "okay";
};

&dpr2_channel1 {
	status = "okay";
};

&dpr2_channel2 {
	status = "okay";
};

&dpr2_channel3 {
	status = "okay";
};

&dpu1 {
	status = "okay";
};

&pixel_combiner2 {
	status = "disabled";
};

&prg10 {
	status = "disabled";
};

&prg11 {
	status = "disabled";
};

&prg12 {
	status = "disabled";
};

&prg13 {
	status = "disabled";
};

&prg14 {
	status = "disabled";
};

&prg15 {
	status = "disabled";
};

&prg16 {
	status = "disabled";
};

&prg17 {
	status = "disabled";
};

&prg18 {
	status = "disabled";
};

&dpr3_channel1 {
	status = "disabled";
};

&dpr3_channel2 {
	status = "disabled";
};

&dpr3_channel3 {
	status = "disabled";
};

&dpr4_channel1 {
	status = "disabled";
};

&dpr4_channel2 {
	status = "disabled";
};

&dpr4_channel3 {
	status = "disabled";
};

&dpu2 {
	status = "disabled";
};

&pciea{
	ext_osc = <1>;
	pinctrl-names = "default";
	pinctrl-0 = <&pinctrl_pciea>;
	disable-gpio = <&gpio4 9 GPIO_ACTIVE_LOW>;
	reset-gpio = <&gpio4 29 GPIO_ACTIVE_LOW>;
	clkreq-gpio = <&gpio4 27 GPIO_ACTIVE_LOW>;
	epdev_on-supply = <&epdev_on>;
	status = "disabled";
};

&pcieb {
	ext_osc = <1>;
	pinctrl-names = "default";
	pinctrl-0 = <&pinctrl_pcieb>;
	reset-gpio = <&gpio5 0 GPIO_ACTIVE_LOW>;
	clkreq-gpio = <&gpio4 30 GPIO_ACTIVE_LOW>;
	status = "disabled";
};

&intmux_cm40 {
	status = "disabled";
};

&intmux_cm41 {
	status = "disabled";
};

&mipi_csi_0 {
	#address-cells = <1>;
	#size-cells = <0>;
	virtual-channel;
	status = "okay";

	/* Camera 0  MIPI CSI-2 (CSIS0) */
	port@0 {
		reg = <0>;
		mipi_csi0_ep: endpoint {
			remote-endpoint = <&max9286_0_ep>;
			data-lanes = <1 2 3 4>;
		};
	};
};

&mipi_csi_1 {
	#address-cells = <1>;
	#size-cells = <0>;
	virtual-channel;
	status = "okay";

	/* Camera 0 MIPI CSI-2 (CSIS1) */
	port@1 {
		reg = <1>;
		mipi_csi1_ep: endpoint {
			remote-endpoint = <&max9286_1_ep>;
			data-lanes = <1 2 3 4>;
		};
	};
};

&mlb {
	pinctrl-names = "default";
	pinctrl-0 = <&pinctrl_mlb>;
	status = "okay";
};

&gpio0 {
	status = "disabled";
};

&gpio1 {
	status = "okay";
};

&gpio2 {
	status = "okay";
};

&gpio3 {
	status = "disabled";
};

&gpio4 {
	status = "okay";
};

&gpio5 {
	status = "okay";
};

&gpio6 {
	status = "disabled";
};

&gpio7 {
	status = "disabled";
};

&i2c0_mipi_csi0 {
	#address-cells = <1>;
	#size-cells = <0>;
	clock-frequency = <100000>;
	status = "disabled";

	max9286_mipi@6A	 {
		compatible = "maxim,max9286_mipi";
		reg = <0x6A>;
		pinctrl-names = "default";
		pinctrl-0 = <&pinctrl_mipi_csi0_en_rst>;
		clocks = <&clk IMX8QM_CLK_DUMMY>;
		clock-names = "capture_mclk";
		mclk = <27000000>;
		mclk_source = <0>;
		pwn-gpios = <&gpio1 27 GPIO_ACTIVE_HIGH>;
		virtual-channel;
		port {
			max9286_0_ep: endpoint {
			remote-endpoint = <&mipi_csi0_ep>;
			data-lanes = <1 2 3 4>;
			};
		};
	};
};

&i2c0_mipi_csi1 {
	#address-cells = <1>;
	#size-cells = <0>;
	clock-frequency = <100000>;
	status = "disabled";

	max9286_mipi@6A	 {
		compatible = "maxim,max9286_mipi";
		reg = <0x6A>;
		pinctrl-names = "default";
		pinctrl-0 = <&pinctrl_mipi_csi1_en_rst>;
		clocks = <&clk IMX8QM_CLK_DUMMY>;
		clock-names = "capture_mclk";
		mclk = <27000000>;
		mclk_source = <0>;
		pwn-gpios = <&gpio1 30 GPIO_ACTIVE_HIGH>;
		virtual-channel;
		port {
			max9286_1_ep: endpoint {
			remote-endpoint = <&mipi_csi1_ep>;
			data-lanes = <1 2 3 4>;
			};
		};
	};
};

&rtc {
	readonly;
};

&isi_0 {
	status = "disabled";
};

&isi_1 {
	status = "disabled";
};

&isi_2 {
	status = "disabled";
};

&isi_3 {
	status = "disabled";
};

&isi_4 {
	status = "disabled";
};

&isi_5 {
	status = "disabled";
};

&isi_6 {
	status = "disabled";
};

&isi_7 {
	status = "disabled";
};

&sata {
	pinctrl-0 = <&pinctrl_pciea>;
	clkreq-gpio = <&gpio4 27 GPIO_ACTIVE_LOW>;
	/delete-property/ iommus;
	status = "okay";
};

&ldb1_phy {
	status = "okay";
};

&ldb1 {
	status = "okay";

	lvds-channel@0 {
		fsl,data-mapping = "jeida";
		fsl,data-width = <24>;
		status = "okay";

		port@1 {
			reg = <1>;

			lvds0_out: endpoint {
				remote-endpoint = <&it6263_0_in>;
			};
		};
	};
};

&i2c1_lvds0 {
	#address-cells = <1>;
	#size-cells = <0>;
	pinctrl-names = "default";
	pinctrl-0 = <&pinctrl_lvds0_lpi2c1>;
	clock-frequency = <100000>;
	status = "okay";

	lvds-to-hdmi-bridge@4c {
		compatible = "ite,it6263";
		reg = <0x4c>;

		port {
			it6263_0_in: endpoint {
				clock-lanes = <3>;
				data-lanes = <0 1 2 4>;
				remote-endpoint = <&lvds0_out>;
			};
		};
	};
};

&ldb2_phy {
	status = "disabled";
};

&ldb2 {
	status = "disabled";

	lvds-channel@0 {
		fsl,data-mapping = "jeida";
		fsl,data-width = <24>;
		status = "okay";

		port@1 {
			reg = <1>;

			lvds1_out: endpoint {
				remote-endpoint = <&it6263_1_in>;
			};
		};
	};
};

&i2c1_lvds1 {
	#address-cells = <1>;
	#size-cells = <0>;
	pinctrl-names = "default";
	pinctrl-0 = <&pinctrl_lvds1_lpi2c1>;
	clock-frequency = <100000>;
	status = "disabled";

	lvds-to-hdmi-bridge@4c {
		compatible = "ite,it6263";
		reg = <0x4c>;

		port {
			it6263_1_in: endpoint {
				clock-lanes = <3>;
				data-lanes = <0 1 2 4>;
				remote-endpoint = <&lvds1_out>;
			};
		};
	};
};

&i2c0_mipi_dsi0 {
	#address-cells = <1>;
	#size-cells = <0>;
	pinctrl-names = "default";
	pinctrl-0 = <&pinctrl_mipi0_lpi2c0>;
	clock-frequency = <100000>;
	status = "okay";

	adv_bridge1: adv7535@3d {
		compatible = "adi,adv7535", "adi,adv7533";
		reg = <0x3d>;
		adi,dsi-lanes = <4>;
		adi,dsi-channel = <1>;
		interrupt-parent = <&gpio1>;
		interrupts = <19 IRQ_TYPE_LEVEL_LOW>;
		status = "okay";

		port {
			adv7535_1_in: endpoint {
				remote-endpoint = <&mipi_dsi_bridge1_adv>;
			};
		};
	};
};

&mipi_dsi_phy1 {
	status = "okay";
};

&mipi_dsi1 {
	pwr-delay = <10>;
	status = "okay";
};

&mipi_dsi_bridge1 {
	status = "okay";

	port@1 {
		mipi_dsi_bridge1_adv: endpoint {
			remote-endpoint = <&adv7535_1_in>;
		};
	};
};

&i2c0_mipi_dsi1 {
	#address-cells = <1>;
	#size-cells = <0>;
	pinctrl-names = "default";
	pinctrl-0 = <&pinctrl_mipi1_lpi2c0>;
	clock-frequency = <100000>;
	status = "disabled";

	adv_bridge2: adv7535@3d {
		compatible = "adi,adv7535", "adi,adv7533";
		reg = <0x3d>;
		adi,dsi-lanes = <4>;
		adi,dsi-channel = <1>;
		interrupt-parent = <&gpio1>;
		interrupts = <23 IRQ_TYPE_LEVEL_LOW>;
		status = "disabled";

		port {
			adv7535_2_in: endpoint {
				remote-endpoint = <&mipi_dsi_bridge2_adv>;
			};
		};
	};
};

&mipi_dsi_phy2 {
	status = "disabled";
};

&mipi_dsi2 {
	pwr-delay = <10>;
	status = "disabled";
};

&mipi_dsi_bridge2 {
	status = "disabled";

	port@1 {
		mipi_dsi_bridge2_adv: endpoint {
			remote-endpoint = <&adv7535_2_in>;
		};
	};
};

&lvds0_pwm {
	pinctrl-names = "default";
	pinctrl-0 = <&pinctrl_lvds0_pwm0>;
	status = "okay";
};

&lvds1_pwm {
	pinctrl-names = "default";
	pinctrl-0 = <&pinctrl_lvds1_pwm0>;
	status = "disabled";
};

/ {
	sound-hdmi-tx {
		compatible = "fsl,imx-audio-cdnhdmi";
		model = "imx-audio-hdmi-tx";
		audio-cpu = <&sai_hdmi_tx>;
		protocol = <1>;
		hdmi-out;
	};

	sound-hdmi-arc {
		compatible = "fsl,imx-audio-spdif";
		model = "imx-hdmi-arc";
		spdif-controller = <&spdif1>;
		spdif-in;
		spdif-out;
	};
};

&irqsteer_hdmi {
	status = "okay";
};

&hdmi {
	compatible = "fsl,imx8qm-hdmi";
	assigned-clocks = <&clk IMX8QM_HDMI_PXL_SEL>,
					<&clk IMX8QM_HDMI_PXL_LINK_SEL>,
					<&clk IMX8QM_HDMI_PXL_MUX_SEL>;
	assigned-clock-parents = <&clk IMX8QM_HDMI_AV_PLL_CLK>,
							<&clk IMX8QM_HDMI_AV_PLL_CLK>,
							<&clk IMX8QM_HDMI_AV_PLL_CLK>;
	fsl,cec;
	status = "okay";
};

&sai_hdmi_tx {
	assigned-clocks =<&clk IMX8QM_ACM_HDMI_TX_SAI0_MCLK_SEL>,
			<&clk IMX8QM_AUD_PLL0_DIV>,
			<&clk IMX8QM_AUD_ACM_AUD_PLL_CLK0_DIV>,
			<&clk IMX8QM_AUD_ACM_AUD_REC_CLK0_DIV>,
			<&clk IMX8QM_AUD_SAI_HDMITX0_MCLK>;
	assigned-clock-parents = <&clk IMX8QM_AUD_ACM_AUD_PLL_CLK0_CLK>;
	assigned-clock-rates = <0>, <786432000>, <49152000>, <12288000>, <49152000>;
	fsl,sai-asynchronous;
	status = "okay";
};

&spdif1 {
	assigned-clocks =<&clk IMX8QM_AUD_PLL0_DIV>,
			<&clk IMX8QM_AUD_ACM_AUD_PLL_CLK0_DIV>,
			<&clk IMX8QM_AUD_ACM_AUD_REC_CLK0_DIV>;
	assigned-clock-rates = <786432000>, <49152000>, <12288000>;
	status = "okay";
};

&tsens {
	tsens-num = <4>;
};

&thermal_zones {
	pmic-thermal0 {
		polling-delay-passive = <250>;
		polling-delay = <2000>;
		thermal-sensors = <&tsens 3>;
		trips {
			pmic_alert0: trip0 {
				temperature = <110000>;
				hysteresis = <2000>;
				type = "passive";
			};
			pmic_crit0: trip1 {
				temperature = <125000>;
				hysteresis = <2000>;
				type = "critical";
			};
		};
		cooling-maps {
			map0 {
				trip = <&pmic_alert0>;
				cooling-device =
				<&A53_0 THERMAL_NO_LIMIT THERMAL_NO_LIMIT>;
			};
		};
	};
};

&edma0 {
	reg = <0x0 0x5a200000 0x0 0x10000>, /* channel0 LPSPI0 rx */
	      <0x0 0x5a210000 0x0 0x10000>, /* channel1 LPSPI0 tx */
	      <0x0 0x5a260000 0x0 0x10000>, /* channel6 LPSPI3 rx */
	      <0x0 0x5a270000 0x0 0x10000>, /* channel7 LPSPI3 tx */
	      <0x0 0x5a2c0000 0x0 0x10000>, /* channel12 UART0 rx */
	      <0x0 0x5a2d0000 0x0 0x10000>, /* channel13 UART0 tx */
	      <0x0 0x5a2e0000 0x0 0x10000>, /* channel14 UART1 rx */
	      <0x0 0x5a2f0000 0x0 0x10000>, /* channel15 UART1 tx */
	      <0x0 0x5a320000 0x0 0x10000>, /* channel18 UART3 rx */
	      <0x0 0x5a330000 0x0 0x10000>, /* channel19 UART3 tx */
	      <0x0 0x5a340000 0x0 0x10000>, /* channel20 UART4 rx */
	      <0x0 0x5a350000 0x0 0x10000>; /* channel21 UART4 tx */
	dma-channels = <12>;
	interrupts = <GIC_SPI 416 IRQ_TYPE_LEVEL_HIGH>,
				 <GIC_SPI 417 IRQ_TYPE_LEVEL_HIGH>,
				 <GIC_SPI 422 IRQ_TYPE_LEVEL_HIGH>,
				 <GIC_SPI 423 IRQ_TYPE_LEVEL_HIGH>,
				 <GIC_SPI 434 IRQ_TYPE_LEVEL_HIGH>,
				 <GIC_SPI 435 IRQ_TYPE_LEVEL_HIGH>,
				 <GIC_SPI 436 IRQ_TYPE_LEVEL_HIGH>,
				 <GIC_SPI 437 IRQ_TYPE_LEVEL_HIGH>,
				 <GIC_SPI 440 IRQ_TYPE_LEVEL_HIGH>,
				 <GIC_SPI 441 IRQ_TYPE_LEVEL_HIGH>,
				 <GIC_SPI 442 IRQ_TYPE_LEVEL_HIGH>,
				 <GIC_SPI 443 IRQ_TYPE_LEVEL_HIGH>;
	interrupt-names = "edma0-chan0-rx", "edma0-chan1-tx",
					  "edma0-chan6-rx", "edma0-chan7-tx",
					  "edma0-chan12-rx", "edma0-chan13-tx",
					  "edma0-chan14-rx", "edma0-chan15-tx",
					  "edma0-chan18-rx", "edma0-chan19-tx",
					  "edma0-chan20-rx", "edma0-chan21-tx";
	pdomains = <&pd_dma0_chan0>, <&pd_dma0_chan1>, /* lpspi0 */
			   <&pd_dma0_chan6>, <&pd_dma0_chan7>, /* lpspi3 */
			   <&pd_dma0_chan12>, <&pd_dma0_chan13>, /* lpuart0 */
			   <&pd_dma0_chan14>, <&pd_dma0_chan15>, /* lpuart1 */
			   <&pd_dma0_chan18>, <&pd_dma0_chan19>, /* lpuart3 */
			   <&pd_dma0_chan20>, <&pd_dma0_chan21>; /* lpuart4 */
};

&edma2 {
	reg =	<0x0 0x59280000 0x0 0x10000>, /* spdif0 rx */
			<0x0 0x59290000 0x0 0x10000>, /* spdif0 tx */
			<0x0 0x592A0000 0x0 0x10000>, /* spdif1 rx */
			<0x0 0x592B0000 0x0 0x10000>; /* spdif1 tx */
	dma-channels = <4>;
	interrupts =	<GIC_SPI 457 IRQ_TYPE_LEVEL_HIGH>, /* spdif0 */
					<GIC_SPI 459 IRQ_TYPE_LEVEL_HIGH>,
					<GIC_SPI 461 IRQ_TYPE_LEVEL_HIGH>, /* spdif1 */
					<GIC_SPI 463 IRQ_TYPE_LEVEL_HIGH>;
	interrupt-names =	"edma2-chan8-rx", "edma2-chan9-tx", /* spdif0 */
						"edma2-chan10-rx", "edma2-chan11-tx"; /* spdif1 */
	pdomains = <&pd_dma2_chan8>, <&pd_dma2_chan9>,		/* spdif0 */
			   <&pd_dma2_chan10>, <&pd_dma2_chan11>;	/* spdif1 */
};

&edma3 {
	dma-channels = <0>;
};

&display {
	ports = <&dpu1_disp0>, <&dpu1_disp1>;
};

&gic {
	/delete-property/ interrupts;
};

&sec_jr1 {
	status = "disabled";
};

&sec_jr2 {
	status = "okay";
};

&sec_jr3 {
	status = "disabled";
};

&usdhc3 {
	/delete-property/ iommus;
};

&vpu_decoder {
	core_type = <2>;
	status = "disabled";
};

&vpu_encoder {
	status = "disabled";
};

&rpmsg{
	/*
	 * 64K for one rpmsg instance:
	 */
	vdev-nums = <2>;
	reg = <0x0 0x90000000 0x0 0x20000>;
	status = "okay";
};

&rpmsg1{
	/*
	 * 64K for one rpmsg instance, using 2 instance
	 * 0x90110000 - 0x9011FFFF: audio
	 */
	vdev-nums = <2>;
	reg = <0x0 0x90100000 0x0 0x20000>;
	status = "okay";
};

&imx_shmem_net {
	status = "okay";
};

/delete-node/ &asrc1;
/delete-node/ &ddr_pmu0;
/delete-node/ &ddr_pmu1;
/delete-node/ &dpu2;
/delete-node/ &dsp;
/delete-node/ &esai1;
/delete-node/ &fec2;
/delete-node/ &gpio0_mipi_csi0;
/delete-node/ &gpio0_mipi_csi1;
/delete-node/ &hdmi_rx;
/delete-node/ &irqsteer_hdmi_rx;
/delete-node/ &i2c0_mipi_csi0;
/delete-node/ &i2c0_mipi_csi1;
/delete-node/ &i2c1_lvds1;
/delete-node/ &i2c0_mipi_dsi1;
/delete-node/ &irqsteer_dsi1;
/delete-node/ &irqsteer_csi0;
/delete-node/ &irqsteer_csi1;
/delete-node/ &irqsteer_lvds1;
/delete-node/ &isi_0;
/delete-node/ &isi_1;
/delete-node/ &isi_2;
/delete-node/ &isi_3;
/delete-node/ &isi_4;
/delete-node/ &isi_5;
/delete-node/ &isi_6;
/delete-node/ &isi_7;
/delete-node/ &jpegdec;
/delete-node/ &jpegenc;
/delete-node/ &ldb2;
/delete-node/ &ldb2_phy;
/delete-node/ &lpuart1;
/delete-node/ &lpuart2;
/delete-node/ &lpuart4;
/delete-node/ &lvds_region2;
/delete-node/ &mipi_csi_0;
/delete-node/ &mipi_csi_1;
/delete-node/ &mipi_dsi_bridge2;
/delete-node/ &mipi_dsi_csr2;
/delete-node/ &mipi_dsi_phy2;
/delete-node/ &mipi_dsi2;
/delete-node/ &mqs;
/delete-node/ &pd_conn_usbotg0;
/delete-node/ &pd_isi_ch0;
/delete-node/ &pixel_combiner2;
/delete-node/ &sai_hdmi_rx;
/delete-node/ &sai0;
/delete-node/ &sai2;
/delete-node/ &sai3;
/delete-node/ &smmu;
/delete-node/ &spdif0;
/delete-node/ &usbotg1;
/delete-node/ &usbphy1;
/delete-node/ &usbh1;
/delete-node/ &usdhc1;
/delete-node/ &usbmisc1;
/delete-node/ &usbmisc2;
/delete-node/ &usbphynop2;
